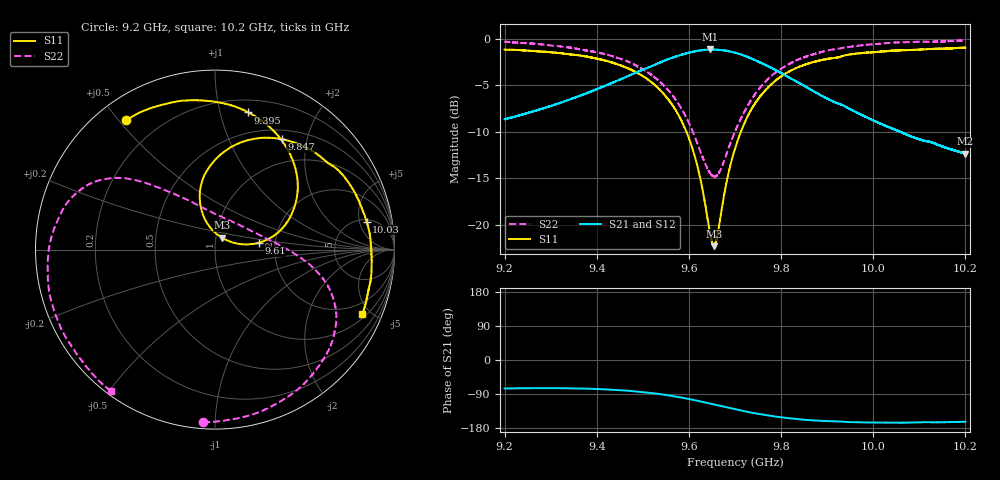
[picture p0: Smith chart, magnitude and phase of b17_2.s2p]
!Agilent Technologies,N5242A,MY51221714,A.09.90.19
!Agilent N5242A: A.09.90.19
!Date: Saturday, December 30, 2023 10:14:55
!Correction: S11(Full 2 Port(1,2))
!S21(Full 2 Port(1,2))
!S12(Full 2 Port(1,2))
!S22(Full 2 Port(1,2))
!S2P File: Measurements: S11, S21, S12, S22:
# Hz S  dB  R 50
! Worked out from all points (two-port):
!   16001 points, 9.2 GHz to 10.2 GHz, reference 50 ohm
!   highest |S21| = -1.15 dB at 9.646 GHz (marker M1); lowest = -12.4 dB at 10.2 GHz (marker M2)
!   |S21| within 3 dB of the highest: 9.462 GHz to 9.817 GHz (354.9 MHz wide, 3.68 % of centre)
!   lowest |S11| = -22.3 dB at 9.655 GHz (marker M3), VSWR 1.17, Z = 53.5 + j7.13 ohm
!   |S11| at or under -10 dB: 9.594 GHz to 9.713 GHz (118.6 MHz wide, 1.23 % of centre)
!   |S22| runs from -14.8 to -0.2 dB; largest |S21 - S12| = 0.013
!   S11 on the Smith chart (normalised r, x): 9.2 GHz: 0.09, +0.52; 9.395 GHz: 0.31, +1.22; 9.61 GHz: 1.64, +0.13; 9.847 GHz: 0.63, +1.59; 10.03 GHz: 5.42, +6.46; 10.2 GHz: 1.24, -4.47
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9.2e9  -1.17 124.5  -8.66 -75.1  -8.65 -75.8  -0.32 -93.8
9.277938e9  -1.37 106.4  -7.59 -74.3  -7.56 -74.9  -0.59 -72.7
9.366688e9  -1.82 84.2  -6.08 -75.3  -6.07 -76.1  -1.18 -49.9
9.395125e9  -2.09 76.4  -5.52 -76.4  -5.50 -77.1  -1.40 -42.8
9.472375e9  -3.29 53.3  -3.92 -81.7  -3.90 -82.3  -2.57 -25.6
9.533375e9  -5.34 32.7  -2.65 -89.4  -2.63 -90.1  -4.47 -13.3
9.5765e9  -8.12 17.5  -1.84 -97.7  -1.83 -98.3  -6.96 -3.3
9.60975e9  -12.16 8.9  -1.38 -105.4  -1.38 -106.1  -10.17 9.8
9.626625e9  -15.51 9.8  -1.24 -109.8  -1.23 -110.4  -12.35 23.2
9.6455e9  -20.83 31.3  -1.15 -114.9  -1.15 -115.6  -14.40 48.3
9.6545e9  -22.33 60.0  -1.16 -117.4  -1.15 -118.1  -14.83 64.0
9.669188e9  -18.95 98.3  -1.21 -121.5  -1.19 -122.1  -14.03 89.5
9.7e9  -11.85 108.1  -1.49 -129.9  -1.48 -130.7  -9.99 118.9
9.733938e9  -7.73 98.7  -2.10 -138.5  -2.08 -139.2  -6.66 132.1
9.778375e9  -4.93 82.3  -3.13 -147.5  -3.12 -148.3  -4.03 141.0
9.846812e9  -2.88 58.9  -4.98 -157.2  -4.97 -157.8  -2.05 152.5
9.866688e9  -2.55 52.8  -5.53 -159.1  -5.53 -159.8  -1.72 156.1
9.9545e9  -1.65 29.3  -7.70 -164.2  -7.70 -164.8  -0.83 174.1
1.003338e10  -1.32 10.5  -9.52 -165.4  -9.50 -166.1  -0.45 -168.0
1.003362e10  -1.32 10.4  -9.52 -165.3  -9.51 -166.1  -0.45 -167.9
1.010662e10  -1.16 -4.8  -10.92 -164.2  -10.92 -165.0  -0.31 -150.2
1.02e10  -0.96 -23.5  -12.37 -163.0  -12.35 -164.0  -0.19 -126.5
